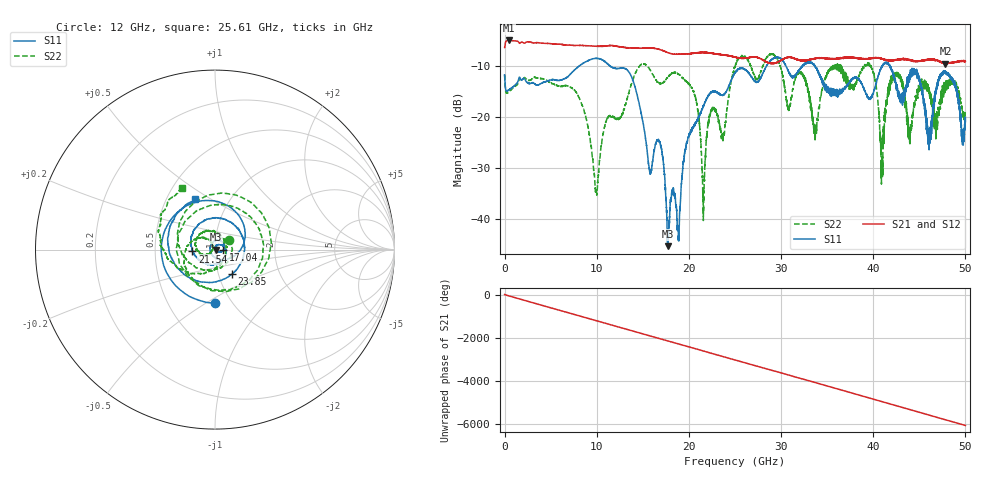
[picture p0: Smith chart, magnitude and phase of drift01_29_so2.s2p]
!Created with skrf (http://scikit-rf.org).
# Hz S RI R 50.0
!freq ReS11 ImS11 ReS21 ImS21 ReS12 ImS12 ReS22 ImS22
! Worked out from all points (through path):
!   10001 points, 300 kHz to 50 GHz, reference 50 ohm
!   highest |S21| = -5.05 dB at 450.3 MHz (marker M1); lowest = -9.6 dB at 47.83 GHz (marker M2)
!   group delay of S21, straight-line fit = 336 ps
!   lowest |S11| = -45.4 dB at 17.69 GHz (marker M3), VSWR 1.01, Z = 50.5 - j0.11 ohm
!   |S11| at or under -10 dB: start of sweep to 8.151 GHz; 11.39 GHz to 28.44 GHz (17.04 GHz wide, 85.6 % of centre); 41.79 GHz to end of sweep (the widest 3 of 9)
!   |S22| runs from -40.4 to -7.7 dB; largest |S21 - S12| = 0.012
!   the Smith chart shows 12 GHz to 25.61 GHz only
!   S11 on the Smith chart (normalised r, x): 12 GHz: 0.84, -0.55; 17.04 GHz: 1.10, -0.01; 21.54 GHz: 0.77, -0.02; 23.85 GHz: 1.16, -0.32; 25.61 GHz: 0.69, +0.43
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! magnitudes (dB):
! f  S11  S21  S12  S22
! 300 kHz  -11.8  -6.4  -6.5  -11.7
! 450.3 MHz  -14.8  -5.1  -5.1  -15.1
! 8.335 GHz  -9.8  -6.0  -6.0  -17.5
! 9.935 GHz  -8.6  -6.2  -6.2  -34.4
! 12 GHz  -10.5  -6.1  -6.1  -20.5
! 15.78 GHz  -31.2  -6.5  -6.5  -10.8
! 16.67 GHz  -24.6  -6.8  -6.8  -13.4
! 17.04 GHz  -26.5  -7.0  -6.9  -13.6
! 17.69 GHz  -45.4  -7.4  -7.4  -12.3
! 20.52 GHz  -21.9  -7.6  -7.6  -15.1
! 21.54 GHz  -17.9  -7.4  -7.4  -36.6
! 22.45 GHz  -15.2  -7.5  -7.5  -18.9
! 23.85 GHz  -15.6  -7.9  -7.9  -23.4
! 25 GHz  -11.4  -8.3  -8.3  -10.2
! 25.61 GHz  -10.4  -8.5  -8.5  -8.2
! 33.34 GHz  -9.5  -8.7  -8.7  -20.1
! 39.49 GHz  -16.3  -8.6  -8.7  -10.0
! 40.95 GHz  -10.3  -8.7  -8.6  -28.8
! 41.67 GHz  -9.8  -8.8  -9.0  -14.5
! 46.08 GHz  -25.7  -8.7  -8.8  -14.9
! 47.83 GHz  -11.2  -9.6  -9.6  -14.4
! 50 GHz  -21.0  -9.1  -9.2  -20.0
